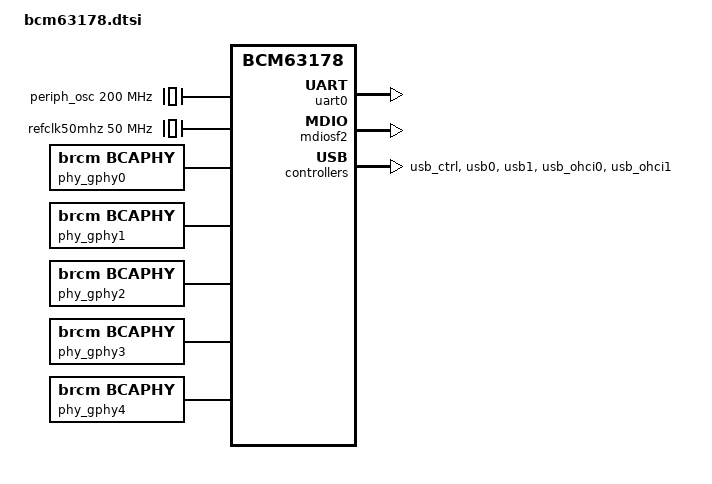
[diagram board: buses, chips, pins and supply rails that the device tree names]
// SPDX-License-Identifier: GPL-2.0+
/*
 * Copyright 2019 Broadcom Ltd.
 */
 
#include "skeleton.dtsi"

/ {
	compatible = "brcm,bcm63178";
	#address-cells = <0x1>;
	#size-cells = <0x1>;

	clocks {
		compatible = "simple-bus";
		#address-cells = <1>;
		#size-cells = <1>;
		ranges;
		u-boot,dm-pre-reloc;

		periph_osc: periph-osc {
			compatible = "fixed-clock";
			#clock-cells = <0>;
			clock-frequency = <200000000>;
			u-boot,dm-pre-reloc;
		};

		hsspi_pll: hsspi-pll {
			compatible = "fixed-factor-clock";
			#clock-cells = <0>;
			clocks = <&periph_osc>;
			clock-mult = <1>;
			clock-div = <1>;
			u-boot,dm-pre-reloc;
		};

		refclk50mhz: refclk50mhz {
			compatible = "fixed-clock";
			#clock-cells = <0>;
			clock-frequency = <50000000>;
			u-boot,dm-pre-reloc;
		};
	};

	pmc {
		u-boot,dm-pre-reloc;
		compatible = "brcm,bca-pmc-3-2";
		reg-names = "pmc", "procmon", "maestro","dtcm"; 
 		reg = <0x80301018 0x5080>,
 		      <0x80320000 0x240>,
 		      <0x80300400 0x5d0>,
 		      <0x80380000 0x1000>;
	};

	strap: strap {
		u-boot,dm-pre-reloc;	
		compatible = "brcm,strap";
		reg = <0xff802600 0x4>;
		boot-select-0=<0 1>;
		boot-select-1=<1 1>;
		boot-select-2=<2 1>;
		boot-select-3=<3 1>;
		boot-select-4=<4 1>;
		boot-select-5=<5 1>;
		bootrom-boot=<11 1>;
	};

	swblks {
		compatible = "brcm,swblks";
		reg-names = "switchcore-base",
			"switchreg-base",
			"switchmdio-base",
			"switchacb-base",
			"qphy-ctrl",
			"sphy-ctrl",
			"phy-test-ctrl";

		reg = <0x80400000 0x72724>,
			<0x80480000 0x458>,
			<0x804805c0 0x10>,
			<0x80480800 0x230>,
			<0x8048001c 0x04>,
			<0x80480024 0x04>,
			<0x80480018 0x04>;
		phy_base = <0x8>;
	};

	/* UBUS */
	ubus: ubus {
		u-boot,dm-pre-reloc;
		compatible = "simple-bus";
		#address-cells = <1>;
		#size-cells = <1>;
		ranges;

		ubus_sys: ubus_sys {
			u-boot,dm-pre-reloc;
			#address-cells = <1>;
			#size-cells = <1>;
			compatible = "brcm,bca-ubus4";			
			reg = <0x83000000 0x80 0x83000200 0x80 0x810a0400 0x400>;
			reg-names = "ubus_systop", "ubus_registration", "ubus_coherency_port";
			flags = <0x0>;

			ubus_mst_sys: ubus_mst {
				u-boot,dm-pre-reloc;
				reg-names = "BIU", "PER", "USB", "DSL",
					"DSLCPU", "PCIE0", "PMC", "SWH",
					"WIFI0";
				reg = <0x83020000 0x1000>,
					<0x83010000 0x1000>,
					<0x83018000 0x1000>,
					<0x83060000 0x1000>,
					<0x83068000 0x1000>,
					<0x83030000 0x1000>,
					<0x83028000 0x1000>,
					<0x83038000 0x1000>,
					<0x83050000 0x1000>;
			};
		};
	};

	periph@ff800000 {
		compatible = "simple-bus";
		#address-cells = <0x1>;
		#size-cells = <0x1>;
		u-boot,dm-pre-reloc;

		uart0: serial@ff812000 {
			u-boot,dm-pre-reloc;
			compatible = "arm,pl011", "arm,primecell";
			reg = <0xff812000 0x1000>;
			clock = <50000000>;
			status = "okay";
		};

		wdt1: watchdog@ff800480 {
			compatible = "brcm,bcm6345-wdt";
			reg = <0xff800480 0x14>;
			clocks = <&refclk50mhz>;
			u-boot,dm-pre-reloc;
		};

		wdt2: watchdog@ff8004c0 {
			compatible = "brcm,bcm6345-wdt";
			reg = <0xff8004c0 0x14>;
			clocks = <&refclk50mhz>;
		};

		wdt-reboot {
			compatible = "wdt-reboot";
			wdt = <&wdt1>;
		};

		hsspi: hsspi@ff801000 {
			pinctrl-0 = <&spim_group_pins>;
			pinctrl-names = "default";
			#address-cells = <0x1>;
			#size-cells = <0x0>;
			u-boot,dm-pre-reloc;
			compatible = "brcm,bcm6328-hsspi";
			reg = <0xff801000 0x1000>;			
			clocks = <&hsspi_pll>, <&hsspi_pll>;
			clock-names = "hsspi", "pll";
			spi-max-frequency = <100000000>;
			num-cs = <8>;
			status = "disabled";
		};

		nand: nand-controller@ff801800 {
			pinctrl-0 = <&nand_data_pins &nand_ctrl_pins>;
			pinctrl-names = "default";
			compatible = "brcm,nand-bcmbca",
				     "brcm,brcmnand-v7.1",
				     "brcm,brcmnand";
			reg-names = "nand", "nand-int-base", "nand-cache";
			reg = <0xff801800 0x400>,
			      <0xff802000 0x10>,
			      <0xff801c00 0x200>;
			parameter-page-big-endian = <0>;
			status = "disabled";
		};

		rng: rng@ff800b80 {
			compatible = "brcm,iproc-rng200";
			reg = <0xff800b80 0x28>;
			u-boot,dm-pre-reloc;
		};
		sysport: systemport@0x80490000 {
			compatible = "brcm,bcmbca-systemport-v2.0";
			qphy-avaiable=<0x01>;
			sphy-available=<0x01>;
			reg-names = "systemport-rbuf-base", "systemport-rdma-base",
				"systemport-tdma-base",
				"systemport-gib-base",
				"systemport-umac-base",
				"systemport-topctrl-base";
			reg =		<0x80490400 0x14>,
				<0x80492000 0x1060>,
				<0x80494000 0x650>,
				<0x80498000 0x10>,
				<0x00000000 0x00>,  
				<0x80490000 0x10>;
			ethsw = <&switch0>;
		};

		mdio_sf2: mdio_sf2 {
			compatible = "simple-bus";
			bus-type = "DSL_ETHSW";
			#address-cells = <1>;
			#size-cells = <0>;

			phy_gphy0:phy_gphy0 {
				compatible = "brcm,bcaphy";
				reg = <0x8>;
				phy-type = "EGPHY";
			};
			phy_gphy1:phy_gphy1 {
				compatible = "brcm,bcaphy";
				reg = <0x9>;
				phy-type = "EGPHY";
			};
			phy_gphy2:phy_gphy2 {
				compatible = "brcm,bcaphy";
				reg = <0xa>;
				phy-type = "EGPHY";
			};
			phy_gphy3:phy_gphy3 {
				compatible = "brcm,bcaphy";
				reg = <0xb>;
				phy-type = "EGPHY";
			};
			phy_gphy4:phy_gphy4 {
				compatible = "brcm,bcaphy";
				reg = <0xc>;
				phy-type = "EGPHY";
			};
		};

	switch0:switch0 {
		compatible = "brcm,enet", "brcm,bcmbca-sf2";
		label = "bcmsw";
		sw-type = "SF2_SW";

		phy_base = <0x8>;
		phy_wkard_timeout = <25000>;
		reg-names = "switchcore-base",
					"switchreg-base",
					"switchmdio-base",
					"qphy-ctrl",
					"sphy-ctrl",
					"phy-test-ctrl";

		reg = <0x80400000 0x72724>,
			<0x80480000 0x458>,
			<0x804805c0 0x10>,
			<0x8048001c 0x04>,
			<0x80480024 0x04>,
			<0x80480018 0x04>;
			ports {
				#address-cells = <1>;
				#size-cells = <0>;
				port_gphy0 {
					phy-handle = <&phy_gphy0>;
					reg = <0>;
					mac-type = "SF2MAC";
					phy-mode = "gmii";
					gmii-direct;
				};
				port_gphy1 {
					phy-handle = <&phy_gphy1>;
					reg = <1>;
					mac-type = "SF2MAC";
					phy-mode = "gmii";
					gmii-direct;
				};
				port_gphy2 {
					phy-handle = <&phy_gphy2>;
					reg = <2>;
					mac-type = "SF2MAC";
					phy-mode = "gmii";
					gmii-direct;
				};
				port_gphy3 {
					phy-handle = <&phy_gphy3>;
					reg = <3>;
					mac-type = "SF2MAC";
					phy-mode = "gmii";
					gmii-direct;
				};
				port_gphy4 {
					phy-handle = <&phy_gphy4>;
					reg = <4>;
					mac-type = "SF2MAC";
					phy-mode = "gmii";
					gmii-direct;
				};
				port_imp {
					management;
					reg = <8>;
					mac-type = "SF2MAC";
					phy-mode = "gmii";
					gmii-direct;
					status = "okay";
				};
			};
		};

		mdiosf2 {
			compatible = "brcm,mdio-sf2";
			reg = <0x804805c0 0x10>,
				  <0x80480000 0x4>;
		};

		boot_state {
			u-boot,dm-pre-reloc;
			compatible = "brcm,bcmbca-bootstate-v2";
			reg-names = "reset_reason", "reset_status";
			reg =   <0xff802628 0x04>,
				<0xff85a03c 0x04>;
		};

		pinctrl: pinctrl {
			compatible = "brcm,bcmbca-pinctrl";
			reg = <0xff800554 0x14>;
			gpio-mux = <5>;
		};

		usb_ctrl:usb_ctrl {
			compatible = "brcm,bcmbca-usb-ctrl";
			reg-names = "usb-ctrl";
			reg = <0x8000c200 0x100>;
			status = "okay";
		};

		usb0: usb@0x8000c300 {
			compatible = "brcm,bcmbca-ehci";
			reg-names = "usb-ehci";
			reg = <0x8000c300 0x100>;
		};

		usb1: usb@0x8000c500 {
			compatible = "brcm,bcmbca-ehci";
			reg-names = "usb-ehci";
			reg = <0x8000c500 0x100>;
		};

		usb_ohci0: usb_ohci@0x8000c400 {
			compatible = "brcm,bcmbca-ohci";
			reg-names = "usb-ohci";
			reg = <0x8000c400 0x100>;
		};

		usb_ohci1: usb_ohci@0x8000c600 {
			compatible = "brcm,bcmbca-ohci";
			reg-names = "usb-ohci";
			reg = <0x8000c600 0x100>;
		};
	};
};

#include "bcm63178-pinctrl.dtsi"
